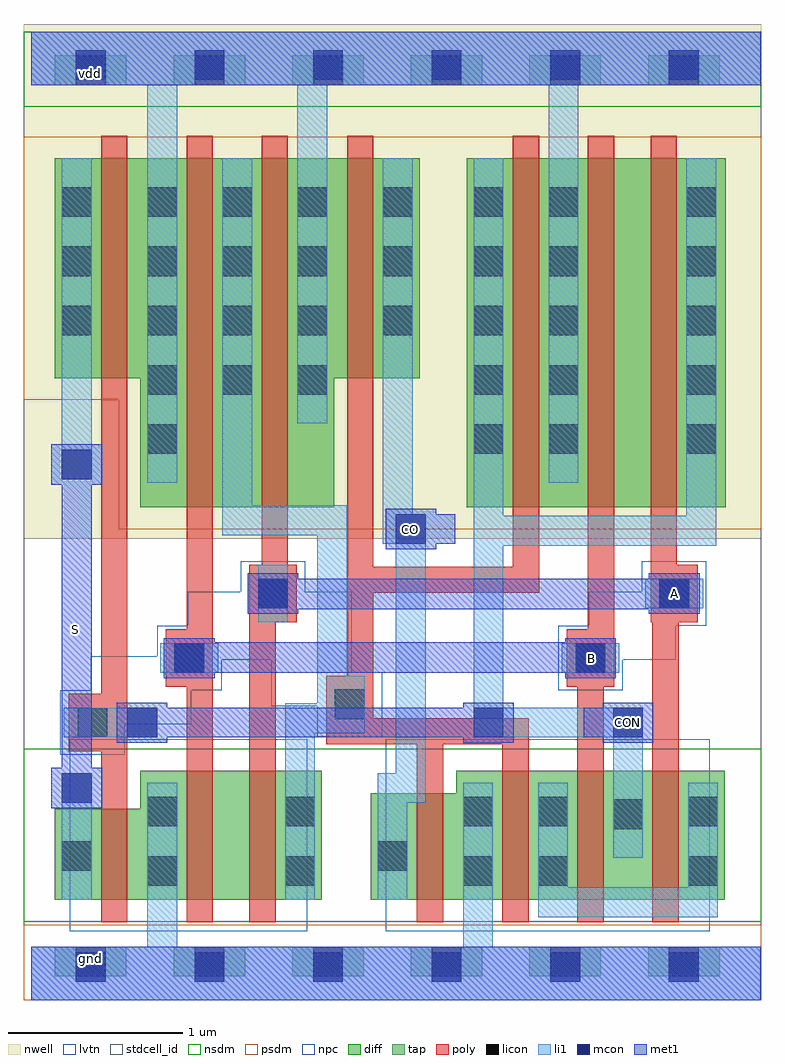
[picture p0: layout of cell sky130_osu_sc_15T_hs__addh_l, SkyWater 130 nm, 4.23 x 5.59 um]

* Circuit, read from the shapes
.subckt sky130_osu_sc_15T_hs__addh_l A B CO CON S gnd vdd
XM1 gnd CON S gnd sky130_fd_pr__nfet_01v8_lvt w=0.52 l=0.15
XM2 n1 B gnd gnd sky130_fd_pr__nfet_01v8_lvt w=0.74 l=0.15
XM3 n2 A n1 gnd sky130_fd_pr__nfet_01v8_lvt w=0.74 l=0.15
XM4 gnd n2 CO gnd sky130_fd_pr__nfet_01v8_lvt w=0.61 l=0.15
XM5 n3 n2 gnd gnd sky130_fd_pr__nfet_01v8_lvt w=0.74 l=0.15
XM6 CON B n3 gnd sky130_fd_pr__nfet_01v8_lvt w=0.74 l=0.15
XM7 n3 A CON gnd sky130_fd_pr__nfet_01v8_lvt w=0.74 l=0.15
XM8 vdd CON S vdd sky130_fd_pr__pfet_01v8 w=1.26 l=0.15
XM9 n2 B vdd vdd sky130_fd_pr__pfet_01v8 w=2 l=0.15
XM10 vdd A n2 vdd sky130_fd_pr__pfet_01v8 w=2 l=0.15
XM11 CO n2 vdd vdd sky130_fd_pr__pfet_01v8 w=1.26 l=0.15
XM12 vdd n2 CON vdd sky130_fd_pr__pfet_01v8 w=2 l=0.15
XM13 n4 B vdd vdd sky130_fd_pr__pfet_01v8 w=2 l=0.15
XM14 CON A n4 vdd sky130_fd_pr__pfet_01v8 w=2 l=0.15
.ends

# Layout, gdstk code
import gdstk
lib = gdstk.Library(unit=1e-6, precision=1e-09)
def R(c, l, rs):  # rectangles x0, y0, x1, y1
    for r in rs: c.add(gdstk.rectangle(r[:2], r[2:], *l))
def A(c, l, x, y, w, h, nx, ny, dx, dy):  # array of equal rectangles
    R(c, l, [(x+i*dx, y+j*dy, x+i*dx+w, y+j*dy+h) for i in range(nx) for j in range(ny)])
nwell = (64, 20)
diff = (65, 20)
tap = (65, 44)
poly = (66, 20)
licon = (66, 44)
li1 = (67, 20)
mcon = (67, 44)
met1 = (68, 20)
stdcell_id = (81, 4)
nsdm = (93, 44)
psdm = (94, 20)
npc = (95, 20)
lvtn = (125, 44)

sky130_osu_sc_15t_hs__ad = lib.new_cell('sky130_osu_sc_15T_hs__addh_l')
R(sky130_osu_sc_15t_hs__ad, nwell, [(-0.045,2.645,4.185,5.595)])
R(sky130_osu_sc_15t_hs__ad, diff, [(0.135,0.575,1.665,1.095), (1.945,0.575,3.975,1.185), (0.625,1.095,1.665,1.315), (2.435,1.185,3.975,1.315), (0.625,2.825,1.735,3.565), (2.495,2.825,3.98,4.825), (0.135,3.565,2.225,4.825)])
A(sky130_osu_sc_15t_hs__ad, tap, 0.135, 0.135, 0.41, 0.17, 6, 2, 0.68, 5.11)
R(sky130_osu_sc_15t_hs__ad, poly, [(0.4,0.445,0.55,1.425), (0.89,0.445,1.04,1.795), (1.25,0.445,1.4,2.165), (2.21,0.445,2.36,1.465), (2.7,0.445,2.85,1.465), (3.13,0.445,3.28,1.795), (3.56,0.445,3.71,2.165), (0.215,1.425,0.55,1.755), (1.69,1.465,2.85,1.615), (1.69,1.615,1.96,1.86), (0.4,1.755,0.55,4.955), (0.77,1.795,1.04,2.125), (3.07,1.795,3.34,2.125), (1.81,1.86,1.96,2.335), (0.89,2.125,1.04,4.955), (3.19,2.125,3.34,4.955), (1.25,2.165,1.52,2.495), (3.55,2.165,3.82,2.495), (1.81,2.335,2.91,2.485), (1.81,2.485,1.96,4.955), (2.76,2.485,2.91,4.955), (1.32,2.495,1.47,4.955), (3.55,2.495,3.7,4.955)])
A(sky130_osu_sc_15t_hs__ad, licon, 0.255, 0.135, 0.17, 0.17, 6, 2, 0.68, 5.11)
A(sky130_osu_sc_15t_hs__ad, licon, 2.535, 3.13, 0.17, 0.17, 1, 5, 0, 0.34)
A(sky130_osu_sc_15t_hs__ad, licon, 2.965, 3.13, 0.17, 0.17, 1, 5, 0, 0.34)
A(sky130_osu_sc_15t_hs__ad, licon, 3.755, 3.13, 0.17, 0.17, 1, 5, 0, 0.34)
A(sky130_osu_sc_15t_hs__ad, licon, 0.665, 3.47, 0.17, 0.17, 3, 4, 0.43, 0.34)
A(sky130_osu_sc_15t_hs__ad, licon, 0.175, 3.81, 0.17, 0.17, 1, 3, 0, 0.34)
A(sky130_osu_sc_15t_hs__ad, licon, 2.015, 3.81, 0.17, 0.17, 1, 3, 0, 0.34)
R(sky130_osu_sc_15t_hs__ad, licon, [(0.665,0.655,0.835,0.825), (1.455,0.655,1.625,0.825), (2.475,0.655,2.645,0.825), (2.905,0.655,3.075,0.825), (3.765,0.655,3.935,0.825), (0.175,0.74,0.345,0.91), (1.985,0.74,2.155,0.91), (3.335,0.98,3.505,1.15), (0.665,0.995,0.835,1.165), (1.455,0.995,1.625,1.165), (2.475,0.995,2.645,1.165), (2.905,0.995,3.075,1.165), (3.765,0.995,3.935,1.165), (0.265,1.505,0.435,1.675), (1.74,1.61,1.91,1.78), (0.82,1.875,0.99,2.045), (3.12,1.875,3.29,2.045), (1.3,2.245,1.47,2.415), (3.6,2.245,3.77,2.415), (0.665,3.13,0.835,3.3)])
R(sky130_osu_sc_15t_hs__ad, li1, [(0,0,4.18,0.305), (0.665,0.305,0.835,1.245), (2.475,0.305,2.645,1.245), (2.905,0.475,3.935,0.645), (0.175,0.575,0.345,1.3), (1.455,0.575,1.625,1.53), (1.985,0.575,2.155,1.13), (2.905,0.645,3.075,1.245), (3.765,0.645,3.935,1.245), (3.335,0.815,3.505,1.505), (1.985,1.13,2.26,1.3), (2.09,1.3,2.26,2.615), (0.185,1.505,0.72,1.675), (2.535,1.505,3.505,1.675), (1.455,1.53,1.91,1.7), (2.535,1.675,2.705,2.605), (1.64,1.7,1.91,1.86), (1.64,1.86,1.81,2.665), (0.74,1.875,1.07,2.045), (3.04,1.875,3.37,2.045), (1.3,2.165,1.47,2.495), (3.52,2.245,3.85,2.415), (2.535,2.605,3.925,2.775), (2.015,2.615,2.26,2.785), (1.095,2.665,1.81,2.835), (2.535,2.775,2.705,4.825), (3.755,2.775,3.925,4.825), (2.015,2.785,2.185,4.825), (1.095,2.835,1.265,4.825), (0.665,2.965,0.835,5.245), (2.965,2.965,3.135,5.245), (0.175,2.985,0.345,4.825), (1.525,3.305,1.695,5.245), (0,5.245,4.18,5.55)])
A(sky130_osu_sc_15t_hs__ad, mcon, 0.255, 0.105, 0.17, 0.17, 6, 2, 0.68, 5.17)
R(sky130_osu_sc_15t_hs__ad, mcon, [(0.175,1.13,0.345,1.3), (0.55,1.505,0.72,1.675), (2.535,1.505,2.705,1.675), (3.335,1.505,3.505,1.675), (0.82,1.875,0.99,2.045), (3.12,1.875,3.29,2.045), (1.3,2.245,1.47,2.415), (3.6,2.245,3.77,2.415), (2.09,2.615,2.26,2.785), (0.175,2.985,0.345,3.155)])
R(sky130_osu_sc_15t_hs__ad, met1, [(0,0,4.18,0.305), (0.115,1.1,0.405,1.33), (0.175,1.33,0.345,2.955), (0.49,1.475,0.78,1.505), (2.475,1.475,2.765,1.505), (3.275,1.475,3.565,1.505), (0.49,1.505,2.765,1.675), (3.165,1.505,3.565,1.675), (0.49,1.675,0.78,1.705), (2.475,1.675,2.765,1.705), (3.275,1.675,3.565,1.705), (0.76,1.845,1.05,1.875), (3.06,1.845,3.35,1.875), (0.76,1.875,3.35,2.05), (0.76,2.05,1.05,2.075), (3.06,2.05,3.35,2.075), (1.24,2.215,1.53,2.24), (3.54,2.215,3.83,2.24), (1.24,2.24,3.83,2.415), (1.24,2.415,1.53,2.445), (3.54,2.415,3.83,2.445), (2.03,2.585,2.32,2.615), (2.03,2.615,2.43,2.785), (2.03,2.785,2.32,2.815), (0.115,2.955,0.405,3.185), (0,5.245,4.18,5.55)])
R(sky130_osu_sc_15t_hs__ad, stdcell_id, [(-0.045,0,4.185,5.55)])
R(sky130_osu_sc_15t_hs__ad, nsdm, [(-0.045,0.45,4.185,1.44), (-0.045,5.12,4.185,5.55)])
R(sky130_osu_sc_15t_hs__ad, psdm, [(-0.045,0,4.185,0.43), (0.5,2.7,4.185,3.44), (-0.045,3.44,4.185,4.95)])
R(sky130_osu_sc_15t_hs__ad, npc, [(0.165,1.405,0.535,1.58), (1.64,1.51,2.01,1.685), (0.165,1.58,0.915,1.775), (1.375,1.685,2.01,1.88), (0.34,1.775,1.09,1.95), (3.02,1.775,3.39,1.95), (1.375,1.88,1.835,1.95), (0.34,1.95,1.835,1.97), (3.02,1.95,3.695,2.145), (0.72,1.97,1.835,2.145), (0.895,2.145,1.835,2.34), (3.195,2.145,3.87,2.34), (1.2,2.34,1.57,2.515), (3.5,2.34,3.87,2.515)])
R(sky130_osu_sc_15t_hs__ad, lvtn, [(0.22,0.395,1.58,1.495), (2.03,0.395,3.89,1.495)])
sky130_osu_sc_15t_hs__ad.add(gdstk.Label('gnd', (0.34,0.24), layer=68, texttype=16))
sky130_osu_sc_15t_hs__ad.add(gdstk.Label('vdd', (0.34,5.31), layer=68, texttype=16))
sky130_osu_sc_15t_hs__ad.add(gdstk.Label('S', (0.25,2.125), layer=68, texttype=5))
sky130_osu_sc_15t_hs__ad.add(gdstk.Label('A', (3.685,2.33), layer=68, texttype=5))
sky130_osu_sc_15t_hs__ad.add(gdstk.Label('B', (3.21,1.96), layer=68, texttype=5))
sky130_osu_sc_15t_hs__ad.add(gdstk.Label('CO', (2.175,2.7), layer=68, texttype=5))
sky130_osu_sc_15t_hs__ad.add(gdstk.Label('CON', (3.42,1.59), layer=68, texttype=5))

lib.write_gds('sky130_osu_sc_15T_hs__addh_l.gds')
